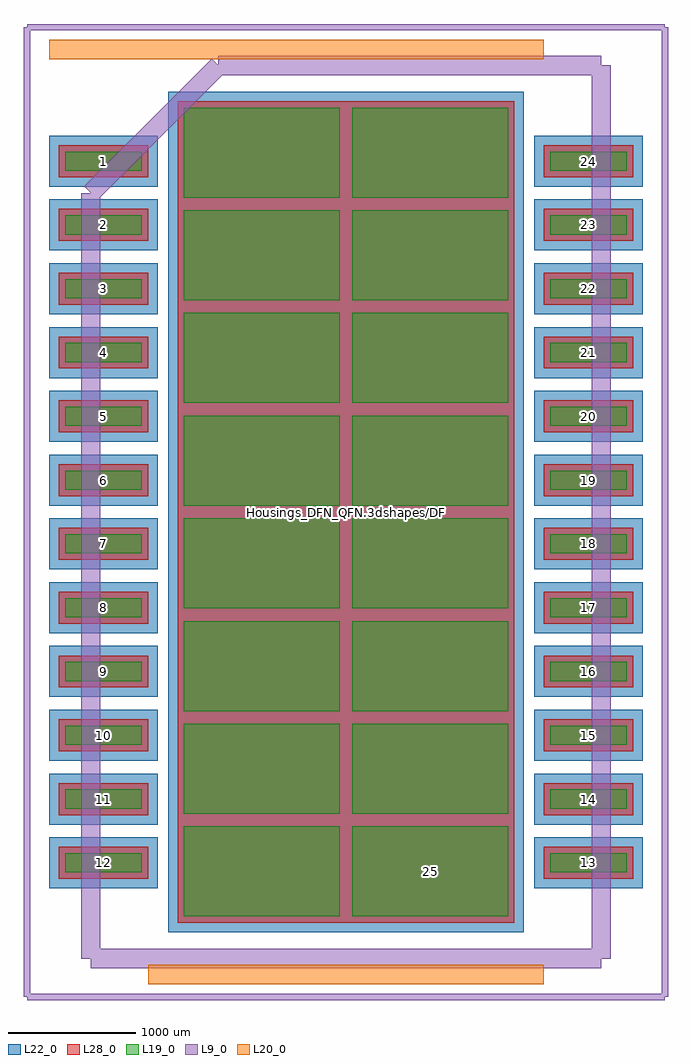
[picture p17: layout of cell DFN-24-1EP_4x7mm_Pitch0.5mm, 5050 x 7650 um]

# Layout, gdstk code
import gdstk
lib = gdstk.Library(unit=1e-6, precision=1e-09)
def R(c, l, rs):  # rectangles x0, y0, x1, y1
    for r in rs: c.add(gdstk.rectangle(r[:2], r[2:], *l))
def A(c, l, x, y, w, h, nx, ny, dx, dy):  # array of equal rectangles
    R(c, l, [(x+i*dx, y+j*dy, x+i*dx+w, y+j*dy+h) for i in range(nx) for j in range(ny)])
L9_0 = (9, 0)
L19_0 = (19, 0)
L20_0 = (20, 0)
L22_0 = (22, 0)
L28_0 = (28, 0)

dfn_24_1ep_4x7mm_pitch0_ = lib.new_cell('DFN-24-1EP_4x7mm_Pitch0.5mm')
A(dfn_24_1ep_4x7mm_pitch0_, L19_0, -1270, -3170, 1220, 705, 1, 8, 0, 805)
A(dfn_24_1ep_4x7mm_pitch0_, L19_0, 50, -3170, 1220, 705, 1, 8, 0, 805)
A(dfn_24_1ep_4x7mm_pitch0_, L19_0, -2200, -2825, 600, 150, 1, 12, 0, 500)
A(dfn_24_1ep_4x7mm_pitch0_, L19_0, 1600, -2825, 600, 150, 1, 12, 0, 500)
A(dfn_24_1ep_4x7mm_pitch0_, L22_0, -1395, -3295, 1470, 955, 1, 8, 0, 805)
A(dfn_24_1ep_4x7mm_pitch0_, L22_0, -75, -3295, 1470, 955, 1, 8, 0, 805)
A(dfn_24_1ep_4x7mm_pitch0_, L22_0, -2325, -2950, 850, 400, 1, 12, 0, 500)
A(dfn_24_1ep_4x7mm_pitch0_, L22_0, 1475, -2950, 850, 400, 1, 12, 0, 500)
A(dfn_24_1ep_4x7mm_pitch0_, L28_0, -1320, -3220, 1320, 805, 1, 8, 0, 805)
A(dfn_24_1ep_4x7mm_pitch0_, L28_0, 0, -3220, 1320, 805, 1, 8, 0, 805)
A(dfn_24_1ep_4x7mm_pitch0_, L28_0, -2250, -2875, 700, 250, 1, 12, 0, 500)
A(dfn_24_1ep_4x7mm_pitch0_, L28_0, 1550, -2875, 700, 250, 1, 12, 0, 500)
dfn_24_1ep_4x7mm_pitch0_.add(gdstk.FlexPath([(-2325,3625),(1550,3625)], 149.998, ends="flush", simple_path=True, layer=20, datatype=0))  # L20_0
dfn_24_1ep_4x7mm_pitch0_.add(gdstk.FlexPath([(-1550,-3625),(1550,-3625)], 149.998, ends="flush", simple_path=True, layer=20, datatype=0))  # L20_0
dfn_24_1ep_4x7mm_pitch0_.add(gdstk.FlexPath([(-2500,-3800),(2500,-3800)], 50, ends="flush", simple_path=True, layer=9, datatype=0))  # L9_0
dfn_24_1ep_4x7mm_pitch0_.add(gdstk.FlexPath([(-2500,3800),(2500,3800)], 50, ends="flush", simple_path=True, layer=9, datatype=0))  # L9_0
dfn_24_1ep_4x7mm_pitch0_.add(gdstk.FlexPath([(2500,3800),(2500,-3800)], 50, ends="flush", simple_path=True, layer=9, datatype=0))  # L9_0
dfn_24_1ep_4x7mm_pitch0_.add(gdstk.FlexPath([(-2500,3800),(-2500,-3800)], 50, ends="flush", simple_path=True, layer=9, datatype=0))  # L9_0
dfn_24_1ep_4x7mm_pitch0_.add(gdstk.FlexPath([(-2000,2500),(-1000,3500)], 149.998, ends="flush", simple_path=True, layer=9, datatype=0))  # L9_0
dfn_24_1ep_4x7mm_pitch0_.add(gdstk.FlexPath([(-2000,-3500),(-2000,2500)], 149.998, ends="flush", simple_path=True, layer=9, datatype=0))  # L9_0
dfn_24_1ep_4x7mm_pitch0_.add(gdstk.FlexPath([(2000,-3500),(-2000,-3500)], 149.998, ends="flush", simple_path=True, layer=9, datatype=0))  # L9_0
dfn_24_1ep_4x7mm_pitch0_.add(gdstk.FlexPath([(2000,3500),(2000,-3500)], 149.998, ends="flush", simple_path=True, layer=9, datatype=0))  # L9_0
dfn_24_1ep_4x7mm_pitch0_.add(gdstk.FlexPath([(-1000,3500),(2000,3500)], 149.998, ends="flush", simple_path=True, layer=9, datatype=0))  # L9_0
dfn_24_1ep_4x7mm_pitch0_.add(gdstk.Label('Housings_DFN_QFN.3dshapes/DFN-24-1EP_4x7mm_Pitch0.5mm.wrl', (0,0), layer=12, texttype=0))
dfn_24_1ep_4x7mm_pitch0_.add(gdstk.Label('25', (660,-2817.5), layer=28, texttype=0))
dfn_24_1ep_4x7mm_pitch0_.add(gdstk.Label('24', (1900,2750), layer=28, texttype=0))
dfn_24_1ep_4x7mm_pitch0_.add(gdstk.Label('23', (1900,2250), layer=28, texttype=0))
dfn_24_1ep_4x7mm_pitch0_.add(gdstk.Label('22', (1900,1750), layer=28, texttype=0))
dfn_24_1ep_4x7mm_pitch0_.add(gdstk.Label('21', (1900,1250), layer=28, texttype=0))
dfn_24_1ep_4x7mm_pitch0_.add(gdstk.Label('20', (1900,750), layer=28, texttype=0))
dfn_24_1ep_4x7mm_pitch0_.add(gdstk.Label('19', (1900,250), layer=28, texttype=0))
dfn_24_1ep_4x7mm_pitch0_.add(gdstk.Label('18', (1900,-250), layer=28, texttype=0))
dfn_24_1ep_4x7mm_pitch0_.add(gdstk.Label('17', (1900,-750), layer=28, texttype=0))
dfn_24_1ep_4x7mm_pitch0_.add(gdstk.Label('16', (1900,-1250), layer=28, texttype=0))
dfn_24_1ep_4x7mm_pitch0_.add(gdstk.Label('15', (1900,-1750), layer=28, texttype=0))
dfn_24_1ep_4x7mm_pitch0_.add(gdstk.Label('14', (1900,-2250), layer=28, texttype=0))
dfn_24_1ep_4x7mm_pitch0_.add(gdstk.Label('13', (1900,-2750), layer=28, texttype=0))
dfn_24_1ep_4x7mm_pitch0_.add(gdstk.Label('12', (-1900,-2750), layer=28, texttype=0))
dfn_24_1ep_4x7mm_pitch0_.add(gdstk.Label('11', (-1900,-2250), layer=28, texttype=0))
dfn_24_1ep_4x7mm_pitch0_.add(gdstk.Label('10', (-1900,-1750), layer=28, texttype=0))
dfn_24_1ep_4x7mm_pitch0_.add(gdstk.Label('9', (-1900,-1250), layer=28, texttype=0))
dfn_24_1ep_4x7mm_pitch0_.add(gdstk.Label('8', (-1900,-750), layer=28, texttype=0))
dfn_24_1ep_4x7mm_pitch0_.add(gdstk.Label('7', (-1900,-250), layer=28, texttype=0))
dfn_24_1ep_4x7mm_pitch0_.add(gdstk.Label('6', (-1900,250), layer=28, texttype=0))
dfn_24_1ep_4x7mm_pitch0_.add(gdstk.Label('5', (-1900,750), layer=28, texttype=0))
dfn_24_1ep_4x7mm_pitch0_.add(gdstk.Label('4', (-1900,1250), layer=28, texttype=0))
dfn_24_1ep_4x7mm_pitch0_.add(gdstk.Label('3', (-1900,1750), layer=28, texttype=0))
dfn_24_1ep_4x7mm_pitch0_.add(gdstk.Label('2', (-1900,2250), layer=28, texttype=0))
dfn_24_1ep_4x7mm_pitch0_.add(gdstk.Label('1', (-1900,2750), layer=28, texttype=0))
dfn_24_1ep_4x7mm_pitch0_.add(gdstk.Label('type', (0,-4550), layer=9, texttype=0))
dfn_24_1ep_4x7mm_pitch0_.add(gdstk.Label('devicename', (0,4550), layer=9, texttype=0))

lib.write_gds('DFN-24-1EP_4x7mm_Pitch0.5mm.gds')
